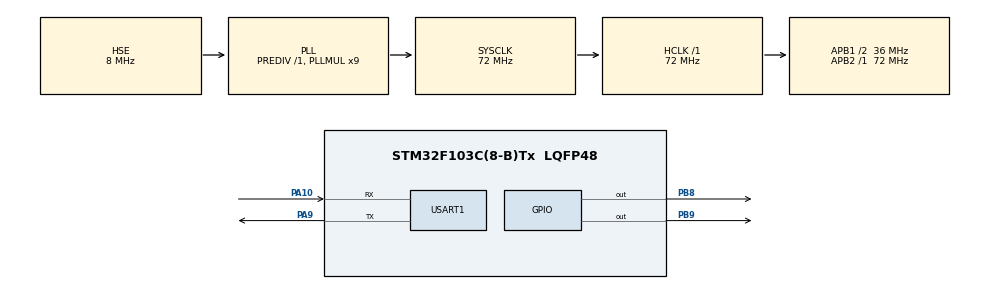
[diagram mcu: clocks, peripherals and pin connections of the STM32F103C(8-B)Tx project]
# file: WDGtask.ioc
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IWDG.Prescaler=IWDG_PRESCALER_64
Mcu.Family=STM32F1
Mcu.Name=STM32F103C(8-B)Tx
Mcu.Package=LQFP48
NVIC.PriorityGroup=NVIC_PRIORITYGROUP_4
PA10.Mode=Asynchronous
PA10.Signal=USART1_RX
PA13.Mode=Serial_Wire
PA13.Signal=SYS_JTMS-SWDIO
PA14.Mode=Serial_Wire
PA14.Signal=SYS_JTCK-SWCLK
PA9.Mode=Asynchronous
PA9.Signal=USART1_TX
PB8.GPIO_ModeDefaultOutputPP=GPIO_MODE_OUTPUT_OD
PB8.GPIO_PuPd=GPIO_NOPULL
PB8.PinState=GPIO_PIN_SET
PB8.Signal=GPIO_Output
PB9.GPIO_ModeDefaultOutputPP=GPIO_MODE_OUTPUT_OD
PB9.GPIO_PuPd=GPIO_NOPULL
PB9.PinState=GPIO_PIN_SET
PB9.Signal=GPIO_Output
PC14-OSC32_IN.Mode=LSE-External-Oscillator
PC14-OSC32_IN.Signal=RCC_OSC32_IN
PC15-OSC32_OUT.Mode=LSE-External-Oscillator
PC15-OSC32_OUT.Signal=RCC_OSC32_OUT
PD0-OSC_IN.Mode=HSE-External-Oscillator
PD0-OSC_IN.Signal=RCC_OSC_IN
PD1-OSC_OUT.Mode=HSE-External-Oscillator
PD1-OSC_OUT.Signal=RCC_OSC_OUT
ProjectManager.HeapSize=0x200
ProjectManager.StackSize=0x400
ProjectManager.TargetToolchain=CMake
RCC.AHBFreq_Value=72000000
RCC.APB1CLKDivider=RCC_HCLK_DIV2
RCC.APB1Freq_Value=36000000
RCC.APB1TimFreq_Value=72000000
RCC.APB2Freq_Value=72000000
RCC.APB2TimFreq_Value=72000000
RCC.HCLKFreq_Value=72000000
RCC.PLLMUL=RCC_PLL_MUL9
RCC.PLLSourceVirtual=RCC_PLLSOURCE_HSE
RCC.SYSCLKFreq_VALUE=72000000
RCC.SYSCLKSource=RCC_SYSCLKSOURCE_PLLCLK
RCC.USBFreq_Value=72000000
USART1.VirtualMode=VM_ASYNC
VP_IWDG_VS_IWDG.Mode=IWDG_Activate
VP_WWDG_VS_WWDG.Mode=WWDG_Activate
WWDG.Counter=127
WWDG.Prescaler=WWDG_PRESCALER_8
WWDG.Window=96
board=custom

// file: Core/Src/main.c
/* USER CODE BEGIN Header */
/**
  ******************************************************************************
  * @file           : main.c
  * @brief          : Main program body
  ******************************************************************************
  * @attention
  *
  * Copyright (c) 2026 STMicroelectronics.
  * All rights reserved.
  *
  * This software is licensed under terms that can be found in the LICENSE file
  * in the root directory of this software component.
  * If no LICENSE file comes with this software, it is provided AS-IS.
  *
  ******************************************************************************
  */
/* USER CODE END Header */
#include "main.h"
#include "iwdg.h"
#include "usart.h"
#include "wwdg.h"
#include "gpio.h"

/* USER CODE BEGIN Includes */
#include "OLED.h"
#include <stdint.h>
/* USER CODE END Includes */

/* USER CODE BEGIN PTD */
typedef struct {
    uint32_t power_count;
    uint32_t iwdg_count;
    uint32_t wwdg_count;
} ResetCounts;
/* USER CODE END PTD */

/* USER CODE BEGIN PD */
#define FLASH_MAGIC_ADDR   0x0800FC00
#define FLASH_POWER_ADDR   0x0800FC04
#define FLASH_IWDG_ADDR    0x0800FC08
#define FLASH_WWDG_ADDR    0x0800FC0C
#define FLASH_MAGIC        0x12345678

#define TEST_MODE 5
/* USER CODE END PD */

/* USER CODE BEGIN PV */
uint32_t reset_flags;
uint32_t reset_flags_after_clear;

uint8_t is_iwdg_reset;
uint8_t is_wwdg_reset;
ResetCounts counts;
/* USER CODE END PV */

void SystemClock_Config(void);
/* USER CODE BEGIN PFP */
void Flash_ReadCounts(ResetCounts *counts);
void Flash_SaveCounts(ResetCounts *counts);

/* USER CODE END PFP */

int main(void)
{

  /* MCU Configuration--------------------------------------------------------*/

  /* Reset of all peripherals, Initializes the Flash interface and the Systick. */
  HAL_Init();

  /* USER CODE BEGIN Init */
  reset_flags = RCC->CSR;

  // 检查复位标志
  is_iwdg_reset = (reset_flags & RCC_CSR_IWDGRSTF) ? 1 : 0;
  is_wwdg_reset = (reset_flags & RCC_CSR_WWDGRSTF) ? 1 : 0;

  __HAL_RCC_CLEAR_RESET_FLAGS();//把 RCC 中记录的复位标志全部清掉。
  reset_flags_after_clear = RCC->CSR;

  /* USER CODE END Init */

  /* Configure the system clock */
  SystemClock_Config();

  /* Initialize all configured peripherals */
  MX_GPIO_Init();
  MX_USART1_UART_Init();
  /* 看门狗不在这里初始化：IWDG/WWDG 一旦启动就无法停止，
     而 OLED_Init() 里的软件 I2C 延时 + Flash 擦写耗时较长，
     会超过看门狗超时时间，导致 MCU 反复复位、屏幕一直不亮。
     看门狗统一放到下面“OLED 显示完成之后”按 TEST_MODE 再启动。 */
  /* MX_WWDG_Init(); */
  /* MX_IWDG_Init(); */
  /* USER CODE BEGIN 2 */

  // 软件 I2C 的 OLED：SCL/SDA 引脚在 OLED_Init() 里配置，必须先调用它屏幕才会亮
  OLED_Init();
  OLED_Clear();
  HAL_Delay(100);

  Flash_ReadCounts(&counts);

  if(is_iwdg_reset)
  {
    counts.iwdg_count++;
  }
  else if(is_wwdg_reset)
  {
    counts.wwdg_count++;
  }
  else if(reset_flags & RCC_CSR_PORRSTF)
  {
    counts.power_count++;
  }

  Flash_SaveCounts(&counts);
  OLED_ShowString(1,1,"POWER:");
  OLED_ShowNum(1,8,counts.power_count,5);
  OLED_ShowString(2,1,"IWDG:");
  OLED_ShowNum(2,8,counts.iwdg_count,5);
  OLED_ShowString(3,1,"WWDG:");
  OLED_ShowNum(3,8,counts.wwdg_count,5);
  /* USER CODE END 2 */

  /* Infinite loop */
  /* USER CODE BEGIN WHILE */
  // MX_WWDG_Init();
  #if TEST_MODE == 1//模式 1：需要正常喂 IWDG。

    MX_IWDG_Init();

  #elif TEST_MODE == 2//模式 2：不喂 IWDG，超时复位。

      if (!is_iwdg_reset)
      {
          MX_IWDG_Init();
      }

  #elif TEST_MODE == 3//模式 3：需要正常喂 WWDG。

      MX_WWDG_Init();

  #elif TEST_MODE == 4//模式 4：启动后立即喂 WWDG，过早复位。

      if (!is_wwdg_reset)
      {
          MX_WWDG_Init();
          HAL_WWDG_Refresh(&hwwdg);
      }

  #elif TEST_MODE == 5//模式 5：不喂 WWDG，超时复位。

      if (!is_wwdg_reset)
      {
          MX_WWDG_Init();
      }

  #endif

  while (1)
  {
    /* USER CODE END WHILE */

    /* USER CODE BEGIN 3 */
    #if TEST_MODE == 1
      HAL_IWDG_Refresh(&hiwdg);
      HAL_Delay(300);
    // IWDG 模式下Tout = (分频系数 × (重装载值 + 1)) / f_LSI，喂狗时间间隔必须小于 1.6 秒，否则会复位
      HAL_Delay(300);
    #elif TEST_MODE == 3

      HAL_Delay(40);
      HAL_WWDG_Refresh(&hwwdg);
    #else
      HAL_Delay(100);
    #endif
  }
  /* USER CODE END 3 */
}

void SystemClock_Config(void)
{
  RCC_OscInitTypeDef RCC_OscInitStruct = {0};
  RCC_ClkInitTypeDef RCC_ClkInitStruct = {0};

  /** Initializes the RCC Oscillators according to the specified parameters
  * in the RCC_OscInitTypeDef structure.
  */
  RCC_OscInitStruct.OscillatorType = RCC_OSCILLATORTYPE_LSI|RCC_OSCILLATORTYPE_HSE;
  RCC_OscInitStruct.HSEState = RCC_HSE_ON;
  RCC_OscInitStruct.HSEPredivValue = RCC_HSE_PREDIV_DIV1;
  RCC_OscInitStruct.HSIState = RCC_HSI_ON;
  RCC_OscInitStruct.LSIState = RCC_LSI_ON;
  RCC_OscInitStruct.PLL.PLLState = RCC_PLL_ON;
  RCC_OscInitStruct.PLL.PLLSource = RCC_PLLSOURCE_HSE;
  RCC_OscInitStruct.PLL.PLLMUL = RCC_PLL_MUL9;
  if (HAL_RCC_OscConfig(&RCC_OscInitStruct) != HAL_OK)
  {
    Error_Handler();
  }

  /** Initializes the CPU, AHB and APB buses clocks
  */
  RCC_ClkInitStruct.ClockType = RCC_CLOCKTYPE_HCLK|RCC_CLOCKTYPE_SYSCLK
                              |RCC_CLOCKTYPE_PCLK1|RCC_CLOCKTYPE_PCLK2;
  RCC_ClkInitStruct.SYSCLKSource = RCC_SYSCLKSOURCE_PLLCLK;
  RCC_ClkInitStruct.AHBCLKDivider = RCC_SYSCLK_DIV1;
  RCC_ClkInitStruct.APB1CLKDivider = RCC_HCLK_DIV2;
  RCC_ClkInitStruct.APB2CLKDivider = RCC_HCLK_DIV1;

  if (HAL_RCC_ClockConfig(&RCC_ClkInitStruct, FLASH_LATENCY_2) != HAL_OK)
  {
    Error_Handler();
  }
}

/* USER CODE BEGIN 4 */
void Flash_ReadCounts(ResetCounts *counts)
{
  uint32_t magic ;
  magic = *(const uint32_t *)FLASH_MAGIC_ADDR;
  if (magic == FLASH_MAGIC)
  {
    counts->power_count = *(const uint32_t *)FLASH_POWER_ADDR;
    counts->iwdg_count = *(const uint32_t *)FLASH_IWDG_ADDR;
    counts->wwdg_count = *(const uint32_t *)FLASH_WWDG_ADDR;
  }
  else
  {
    // 如果不匹配，说明数据无效，初始化为0
    counts->power_count = 0;
    counts->iwdg_count = 0;
    counts->wwdg_count = 0;
  }

}
void Flash_SaveCounts(ResetCounts *counts)
{
  FLASH_EraseInitTypeDef EraseInitStruct;
  uint32_t PageError = 0;

  // FLASH_MAGIC_ADDR = 0x0800FC00 是 1KB 页大小器件的最后一页起始地址（第 63 页），
  // 4 个变量都在这一页内，所以只擦 1 页即可；也避免擦到前面的程序代码。
  EraseInitStruct.TypeErase = FLASH_TYPEERASE_PAGES;
  EraseInitStruct.PageAddress = FLASH_MAGIC_ADDR;
  EraseInitStruct.NbPages = 1;

  HAL_FLASH_Unlock();
  HAL_FLASHEx_Erase(&EraseInitStruct, &PageError);

  HAL_FLASH_Program(FLASH_TYPEPROGRAM_WORD, FLASH_MAGIC_ADDR, FLASH_MAGIC);
  HAL_FLASH_Program(FLASH_TYPEPROGRAM_WORD, FLASH_POWER_ADDR, counts->power_count);
  HAL_FLASH_Program(FLASH_TYPEPROGRAM_WORD, FLASH_IWDG_ADDR, counts->iwdg_count);
  HAL_FLASH_Program(FLASH_TYPEPROGRAM_WORD, FLASH_WWDG_ADDR, counts->wwdg_count);
  HAL_FLASH_Lock();
}
/* USER CODE END 4 */

void Error_Handler(void)
{
  __disable_irq();
  while (1)
  {
  }
}
